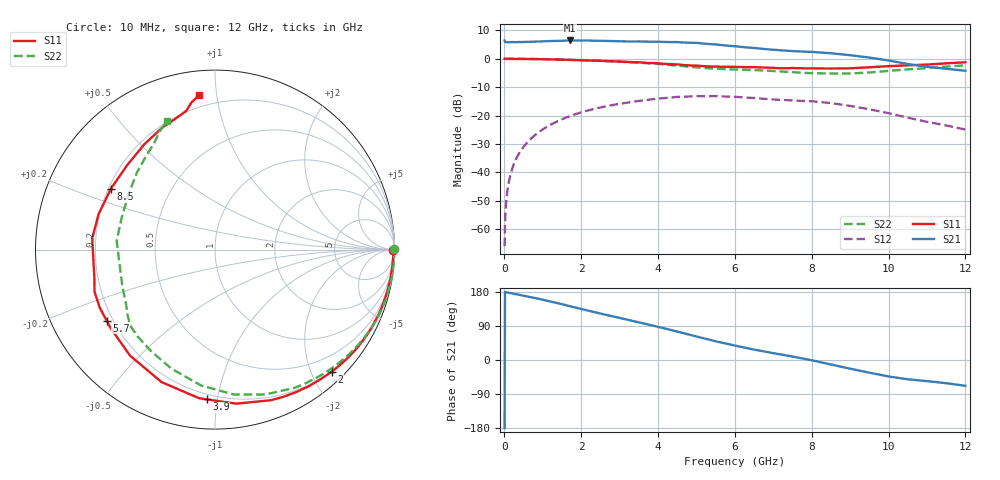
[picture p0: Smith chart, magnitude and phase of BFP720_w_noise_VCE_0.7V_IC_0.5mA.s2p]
! Infineon Technologies  Discrete & RF Semiconductors
! BFP720
! VCE =  0.7 V,  IC =  0.5 mA
! Common Emitter S-Parameters:  Aug 2012
# GHz  S  MA  R  50
!  f  S11  S21  S12  S22
! GHz  MAG  ANG  MAG  ANG  MAG  ANG  MAG  ANG
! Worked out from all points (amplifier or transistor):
!   105 points, 10 MHz to 12 GHz, reference 50 ohm
!   highest |S21| = 6.4 dB at 1.7 GHz (marker M1)
!   |S21| within 3 dB of that: start of sweep to 6.767 GHz
!   unconditionally stable (mu >= 1): 9.46 GHz to 11.79 GHz
!   at 300 MHz: K = 0.00, MSG = 20.7 dB, |S12| = -35.5 dB
!   at 3.6 GHz: K = 0.26, MSG = 10.4 dB, |S12| = -14.7 dB
!   at 12 GHz: K = 0.90, MSG = 10.3 dB, |S12| = -24.9 dB
!   lowest NFmin = 0.59 dB at 450 MHz
!   S11 on the Smith chart (normalised r, x): 10 MHz: open; 2 GHz: 0.19, -2.33; 3.9 GHz: 0.17, -0.93; 5.7 GHz: 0.18, -0.29; 8.5 GHz: 0.21, +0.26; 12 GHz: 0.13, +0.90
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0.01  0.9943 -0.1  2.089 -179.6  0.0005 -32.9  0.9969 0.1
0.02  0.9925 -0.4  1.984 179.4  0.0012 92.0  0.9999 -0.3
0.03  0.9927 -0.6  1.976 179.1  0.0018 90.0  0.9995 -0.6
0.08  0.9938 -1.7  1.956 178.2  0.0046 89.9  0.9991 -1.6
0.15  0.9929 -3.2  1.964 176.9  0.0083 87.4  0.9993 -2.8
0.3  0.9914 -6.3  1.96 173.8  0.0167 85.2  0.9979 -5.6
0.8  0.9844 -17.3  2.001 163.5  0.0451 76.1  0.9921 -15.4
1.7  0.9544 -39.0  2.099 142.2  0.0971 57.6  0.9579 -33.7
2  0.9415 -46.3  2.093 134.8  0.1134 51.1  0.9425 -39.8
2.1  0.9355 -48.6  2.09 132.3  0.1185 48.8  0.9365 -41.8
2.8  0.9044 -65.1  2.05 115.7  0.1522 34.1  0.8992 -56.1
3.9  0.8356 -93.2  1.996 89.9  0.1948 10.8  0.8191 -80.2
4.1  0.8206 -99.2  1.984 85.1  0.2011 6.5  0.8 -85.1
5  0.7569 -128.7  1.904 62.0  0.2198 -14.1  0.7066 -110.0
5.7  0.7216 -146.8  1.728 45.0  0.2168 -29.5  0.6582 -126.0
6.1  0.7166 -154.6  1.634 36.0  0.2113 -37.6  0.6446 -133.1
7  0.6913 -166.4  1.441 18.0  0.1919 -53.1  0.6083 -143.2
8  0.6781 163.2  1.32 -0.7  0.1783 -69.0  0.556 -158.1
8.5  0.6719 149.7  1.25 -11.8  0.1657 -79.0  0.5502 174.9
9.5  0.7066 123.9  1.049 -33.4  0.1287 -95.9  0.5722 147.1
10.5  0.766 105.9  0.808 -50.9  0.0915 -107.1  0.6492 126.0
12  0.8658 95.8  0.614 -68.2  0.0567 -111.7  0.7667 110.4
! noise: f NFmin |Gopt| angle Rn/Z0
0.45  0.59  0.89  6  0.89
1.8  0.89  0.79  32  0.77
2.4  1.02  0.74  86  0.57
5.5  1.58  0.61  109  0.26
10  2.85  0.65  -124  0.44
